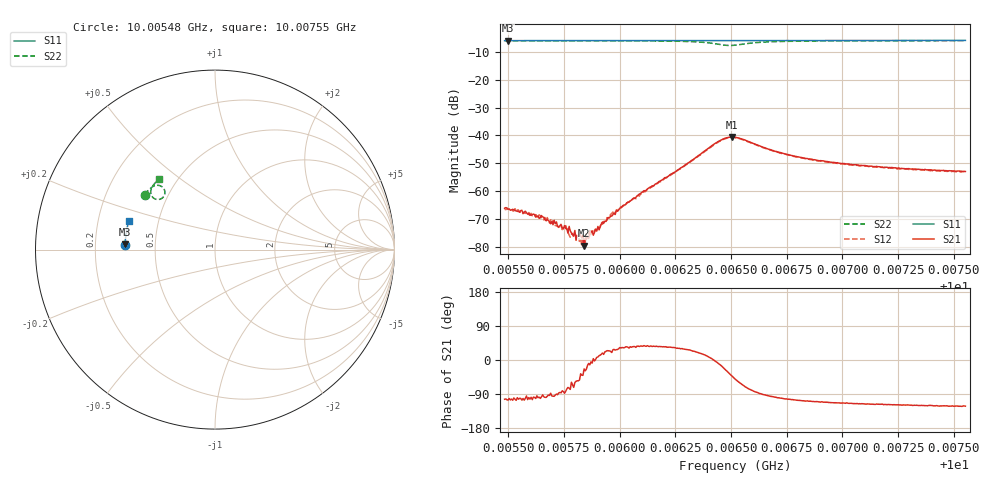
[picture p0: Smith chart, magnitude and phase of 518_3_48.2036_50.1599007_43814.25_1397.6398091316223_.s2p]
#  HZ  S  RI  R  50.00
! Rohde & Schwarz Vector Network Analyzer
! Rohde-Schwarz,ZNB20-2Port,1311601062101988,3.16
! Created: UTC 3/20/2024, 11:59:16 AM
! freq[Hz]  re:S11  im:S11  re:S21  im:S21  re:S12  im:S12  re:S22  im:S22
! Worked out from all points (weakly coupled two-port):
!   401 points, 10.00548 GHz to 10.00755 GHz, reference 50 ohm
!   highest |S21| = -40.57 dB at 10.0065 GHz (marker M1); lowest = -79.5 dB at 10.00584 GHz (marker M2)
!   lowest |S11| = -6.0 dB at 10.0055 GHz (marker M3), VSWR 3.01, Z = 16.6 + j1.29 ohm
!   |S11| at or under -10 dB: nowhere
!   |S22| runs from -7.7 to -6.0 dB; largest |S21 - S12| = 0.00061
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1.0005484e10  -0.5005 0.028  -0.000116 -0.000479  -8.46e-05 -0.000466  -0.3912 0.3054
1.00055e10  -0.5004 0.0291  -0.000128 -0.000459  -9.38e-05 -0.000462  -0.3907 0.3062
1.0005655e10  -0.4999 0.0393  -1.15e-05 -0.000346  -1.89e-05 -0.000305  -0.3838 0.3155
1.0005686e10  -0.5 0.0412  -1.66e-05 -0.000282  7.78e-06 -0.000268  -0.3823 0.3174
1.0005758e10  -0.4996 0.046  2.67e-05 -0.000211  5.28e-05 -0.000234  -0.3788 0.322
1.0005784e10  -0.4995 0.0474  9.21e-05 -0.000152  3.78e-05 -0.000161  -0.3774 0.3234
1.0005815e10  -0.4994 0.0497  8.94e-05 -0.000127  0.000106 -0.000122  -0.3758 0.3254
1.000583e10  -0.4993 0.0506  0.000111 -9.29e-05  8.62e-05 -5.63e-05  -0.3748 0.3264
1.0005841e10  -0.4994 0.0512  9.67e-05 -4.22e-05  0.000121 -4.77e-05  -0.3744 0.3269
1.0005851e10  -0.4992 0.052  0.000124 -5.53e-05  0.000166 -7.81e-05  -0.3736 0.3277
1.0005867e10  -0.4991 0.053  0.000191 -4.27e-05  0.000144 -3.93e-05  -0.3729 0.3288
1.0005903e10  -0.499 0.0553  0.00023 3.21e-05  0.000196 2.07e-05  -0.3707 0.3311
1.000596e10  -0.4987 0.059  0.000327 0.000137  0.000334 0.000178  -0.3671 0.3347
1.0006099e10  -0.4978 0.068  0.000757 0.000566  0.000691 0.000543  -0.3566 0.3444
1.0006177e10  -0.4972 0.0731  0.00121 0.000865  0.00115 0.000903  -0.3485 0.3501
1.000644e10  -0.4941 0.09  0.00762 -0.00103  0.00743 -0.000608  -0.281 0.3307
1.0006502e10  -0.4936 0.0934  0.00699 -0.00622  0.00718 -0.00564  -0.2951 0.2862
1.0006518e10  -0.4935 0.0944  0.00594 -0.00709  0.00625 -0.00659  -0.3065 0.2807
1.0006704e10  -0.4922 0.1061  -0.000779 -0.00508  -0.000515 -0.00499  -0.3581 0.3235
1.0006864e10  -0.4902 0.1164  -0.00124 -0.00352  -0.00102 -0.00349  -0.3515 0.3467
1.000721e10  -0.4853 0.1383  -0.00123 -0.00235  -0.00109 -0.00236  -0.3327 0.3727
1.0007551e10  -0.4794 0.1595  -0.00118 -0.00191  -0.0011 -0.00192  -0.3148 0.3911
